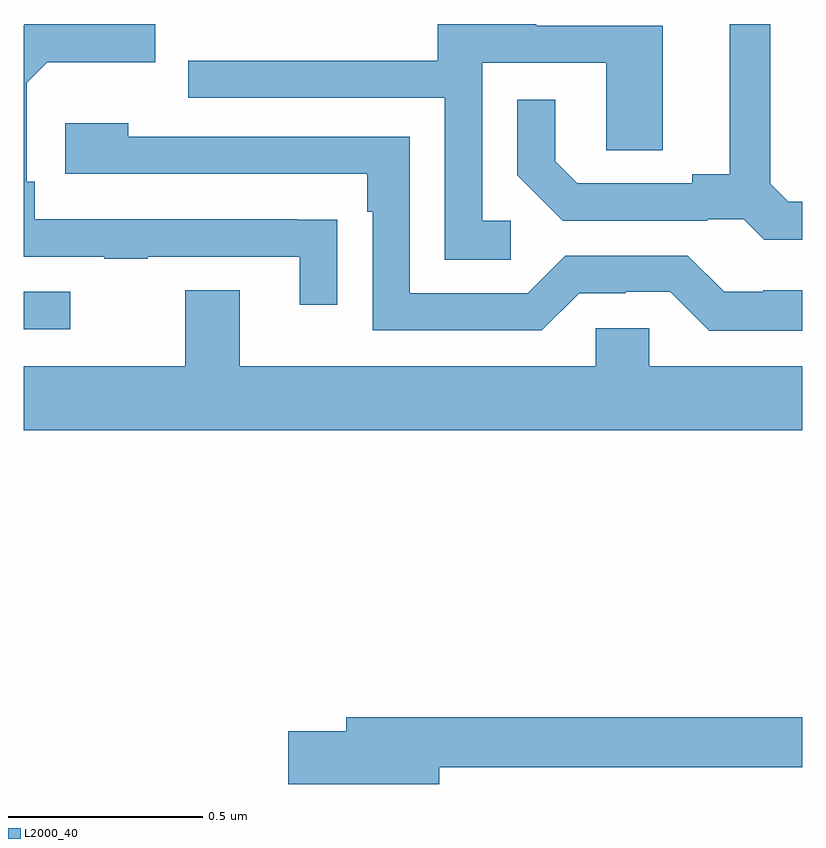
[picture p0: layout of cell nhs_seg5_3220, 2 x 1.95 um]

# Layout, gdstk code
import gdstk
lib = gdstk.Library(unit=1e-6, precision=1e-09)
def R(c, l, rs):  # rectangles x0, y0, x1, y1
    for r in rs: c.add(gdstk.rectangle(r[:2], r[2:], *l))
def P(c, l, *ps):  # polygons
    for p in ps: c.add(gdstk.Polygon(p, *l))
L2000_40 = (2000, 40)

nhs_seg5_3220 = lib.new_cell('nhs_seg5_3220')
R(nhs_seg5_3220, L2000_40, [(154,861.015,154.12,861.111)])
P(nhs_seg5_3220, L2000_40, [(154.805,861.296),(154.703,861.296),(154.703,861.297),(154.028,861.297),(154.028,861.394),(154.008,861.394),(154.008,861.648),(154.061,861.701),(154.338,861.701),(154.338,861.799),(154.242,861.799),(154.242,861.798),(154.002,861.798),(154,861.796),(154,861.201),(154.207,861.201),(154.207,861.196),(154.319,861.196),(154.319,861.201),(154.709,861.201),(154.709,861.078),(154.805,861.078)],
  [(156,861.342),(155.964,861.342),(155.917,861.389),(155.917,861.799),(155.813,861.799),(155.813,861.413),(155.717,861.413),(155.717,861.39),(155.422,861.39),(155.365,861.447),(155.365,861.604),(155.268,861.604),(155.268,861.41),(155.384,861.294),(155.756,861.294),(155.756,861.297),(155.85,861.297),(155.902,861.245),(156,861.245)],
  [(155.251,861.294),(155.178,861.294),(155.178,861.699),(155.496,861.699),(155.496,861.475),(155.641,861.475),(155.641,861.795),(155.317,861.795),(155.317,861.799),(155.063,861.799),(155.063,861.705),(154.423,861.705),(154.423,861.609),(155.082,861.609),(155.082,861.193),(155.251,861.193)],
  [(156,861.115),(155.899,861.115),(155.899,861.111),(155.799,861.111),(155.706,861.204),(155.391,861.204),(155.295,861.108),(154.992,861.108),(154.992,861.51),(154.268,861.51),(154.268,861.544),(154.107,861.544),(154.107,861.414),(154.883,861.414),(154.883,861.317),(154.896,861.317),(154.896,861.012),(155.331,861.012),(155.427,861.108),(155.546,861.108),(155.546,861.111),(155.661,861.111),(155.761,861.011),(156,861.011)],
  [(156,860.92),(155.607,860.92),(155.607,861.018),(155.469,861.018),(155.469,860.92),(154.555,860.92),(154.555,861.115),(154.415,861.115),(154.415,860.92),(154,860.92),(154,860.756),(156,860.756)],
  [(155.068,859.89),(156,859.89),(156,860.018),(154.829,860.018),(154.829,859.982),(154.68,859.982),(154.68,859.847),(155.068,859.847)])

lib.write_gds('nhs_seg5_3220.gds')
